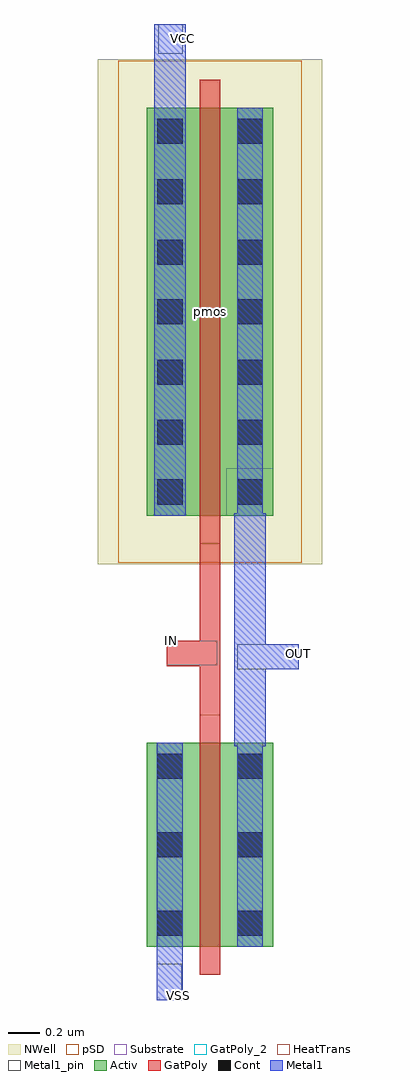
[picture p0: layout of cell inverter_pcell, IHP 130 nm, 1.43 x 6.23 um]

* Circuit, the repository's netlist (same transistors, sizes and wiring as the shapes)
* Extracted by KLayout with SG13G2 LVS runset on : 13/05/2025 18:07

.SUBCKT inverter_pcell
M$1 \$2 \$6 \$3 \$1 sg13_lv_nmos L=0.13u W=1.3u AS=0.442p AD=0.442p PS=3.28u
+ PD=3.28u
M$2 \$4 \$6 \$3 \$5 sg13_lv_pmos L=0.13u W=2.6u AS=0.884p AD=0.884p PS=5.88u
+ PD=5.88u
.ENDS inverter_pcell

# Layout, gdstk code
import gdstk
lib = gdstk.Library(unit=1e-6, precision=1e-09)
def R(c, l, rs):  # rectangles x0, y0, x1, y1
    for r in rs: c.add(gdstk.rectangle(r[:2], r[2:], *l))
def A(c, l, x, y, w, h, nx, ny, dx, dy):  # array of equal rectangles
    R(c, l, [(x+i*dx, y+j*dy, x+i*dx+w, y+j*dy+h) for i in range(nx) for j in range(ny)])
Activ = (1, 0)
GatPoly = (5, 0)
GatPoly_2 = (5, 2)
Cont = (6, 0)
Metal1 = (8, 0)
Metal1_pin = (8, 2)
pSD = (14, 0)
NWell = (31, 0)
Substrate = (40, 0)
HeatTrans = (51, 0)

nmos = lib.new_cell('nmos')
R(nmos, Activ, [(0,0,0.3,0.3), (0,0,0.81,1.3), (0.51,0,0.81,0.3)])
R(nmos, GatPoly, [(0.34,-0.18,0.47,1.48)])
R(nmos, GatPoly_2, [(0.34,-0.18,0.47,1.48)])
A(nmos, Cont, 0.07, 0.07, 0.16, 0.16, 1, 3, 0, 0.5)
A(nmos, Cont, 0.58, 0.07, 0.16, 0.16, 1, 3, 0, 0.5)
R(nmos, Metal1, [(0.07,0,0.23,1.3), (0.58,0,0.74,1.3)])
R(nmos, Metal1_pin, [(0.07,0,0.23,1.3), (0.58,0,0.74,1.3)])
R(nmos, HeatTrans, [(0.34,-0.18,0.47,1.48)])
nmos.add(gdstk.Label('nmos', (0.405,0.65), layer=63, texttype=0))
nmos.add(gdstk.Label('nmos', (0.405,0.65), layer=51, texttype=0))

inverter_pcell = lib.new_cell('inverter_pcell')
R(inverter_pcell, Activ, [(0.375,0.53,0.675,0.83), (0.375,0.53,1.185,3.13), (0.885,0.53,1.185,0.83)])
R(inverter_pcell, GatPoly, [(0.715,-0.74,0.845,0.355), (0.505,-0.43,0.845,-0.27), (0.715,0.35,0.845,3.31), (0.715,0.35,0.845,3.31)])
R(inverter_pcell, GatPoly_2, [(0.505,-0.425,0.825,-0.27)])
A(inverter_pcell, Cont, 0.445, 0.98, 0.16, 0.16, 1, 3, 0, 0.385)
A(inverter_pcell, Cont, 0.955, 0.98, 0.16, 0.16, 1, 3, 0, 0.385)
A(inverter_pcell, Cont, 0.445, 2.13, 0.16, 0.16, 1, 3, 0, 0.385)
A(inverter_pcell, Cont, 0.955, 2.13, 0.16, 0.16, 1, 3, 0, 0.385)
R(inverter_pcell, Cont, [(0.445,0.6,0.605,0.76), (0.955,0.6,1.115,0.76)])
R(inverter_pcell, Metal1, [(0.44,-2.56,0.605,-0.92), (0.935,-0.94,1.135,0.545), (1.115,-0.45,1.345,-0.29), (0.425,0.53,0.625,3.665), (0.445,0.53,0.605,3.13), (0.445,0.53,0.605,3.13), (0.955,0.53,1.115,3.13), (0.955,0.53,1.115,3.13)])
R(inverter_pcell, Metal1_pin, [(0.44,-2.56,0.6,-2.33), (0.955,-0.45,1.345,-0.29), (0.45,3.475,0.605,3.665)])
R(inverter_pcell, pSD, [(0.195,0.23,1.365,3.43)])
R(inverter_pcell, NWell, [(0.065,0.22,1.495,3.44)])
R(inverter_pcell, Substrate, [(0.885,0.53,1.185,0.83)])
R(inverter_pcell, HeatTrans, [(0.715,0.35,0.845,3.31)])
inverter_pcell.add(gdstk.Reference(nmos, (0.375,-2.22)))
inverter_pcell.add(gdstk.Label('OUT', (1.345,-0.35), layer=8, texttype=2))
inverter_pcell.add(gdstk.Label('VSS', (0.58,-2.53), layer=8, texttype=2))
inverter_pcell.add(gdstk.Label('VCC', (0.605,3.575), layer=8, texttype=2))
inverter_pcell.add(gdstk.Label('IN', (0.535,-0.27), layer=5, texttype=2))
inverter_pcell.add(gdstk.Label('pmos', (0.78,1.83), layer=63, texttype=0))
inverter_pcell.add(gdstk.Label('pmos', (0.78,1.83), layer=51, texttype=0))

lib.write_gds('inverter_pcell.gds')
